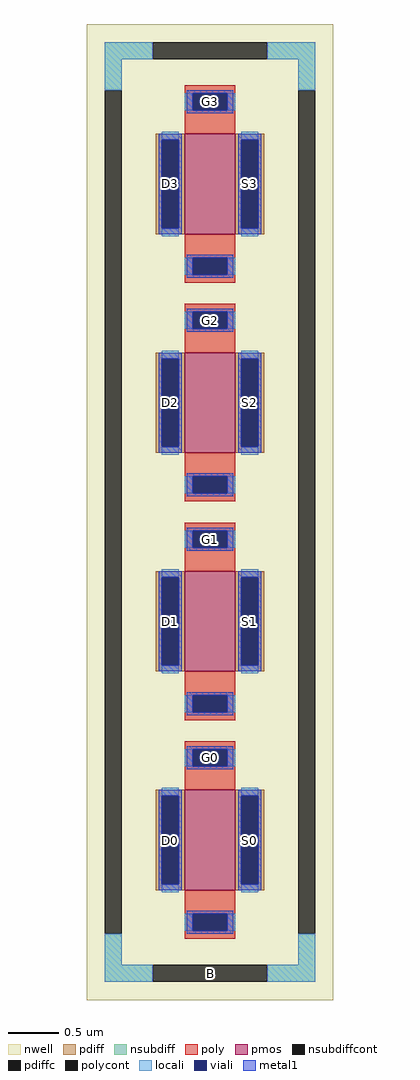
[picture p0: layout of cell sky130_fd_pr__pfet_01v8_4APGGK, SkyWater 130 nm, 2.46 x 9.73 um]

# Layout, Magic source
magic
tech sky130A
magscale 1 2
<< nwell >>
rect -246 -973 246 973
<< pmos >>
rect -50 554 50 754
rect -50 118 50 318
rect -50 -318 50 -118
rect -50 -754 50 -554
<< pdiff >>
rect -108 742 -50 754
rect -108 566 -96 742
rect -62 566 -50 742
rect -108 554 -50 566
rect 50 742 108 754
rect 50 566 62 742
rect 96 566 108 742
rect 50 554 108 566
rect -108 306 -50 318
rect -108 130 -96 306
rect -62 130 -50 306
rect -108 118 -50 130
rect 50 306 108 318
rect 50 130 62 306
rect 96 130 108 306
rect 50 118 108 130
rect -108 -130 -50 -118
rect -108 -306 -96 -130
rect -62 -306 -50 -130
rect -108 -318 -50 -306
rect 50 -130 108 -118
rect 50 -306 62 -130
rect 96 -306 108 -130
rect 50 -318 108 -306
rect -108 -566 -50 -554
rect -108 -742 -96 -566
rect -62 -742 -50 -566
rect -108 -754 -50 -742
rect 50 -566 108 -554
rect 50 -742 62 -566
rect 96 -742 108 -566
rect 50 -754 108 -742
<< pdiffc >>
rect -96 566 -62 742
rect 62 566 96 742
rect -96 130 -62 306
rect 62 130 96 306
rect -96 -306 -62 -130
rect 62 -306 96 -130
rect -96 -742 -62 -566
rect 62 -742 96 -566
<< nsubdiff >>
rect -210 903 -114 937
rect 114 903 210 937
rect -210 841 -176 903
rect 176 841 210 903
rect -210 -903 -176 -841
rect 176 -903 210 -841
rect -210 -937 -114 -903
rect 114 -937 210 -903
<< nsubdiffcont >>
rect -114 903 114 937
rect -210 -841 -176 841
rect 176 -841 210 841
rect -114 -937 114 -903
<< poly >>
rect -50 835 50 851
rect -50 801 -34 835
rect 34 801 50 835
rect -50 754 50 801
rect -50 507 50 554
rect -50 473 -34 507
rect 34 473 50 507
rect -50 457 50 473
rect -50 399 50 415
rect -50 365 -34 399
rect 34 365 50 399
rect -50 318 50 365
rect -50 71 50 118
rect -50 37 -34 71
rect 34 37 50 71
rect -50 21 50 37
rect -50 -37 50 -21
rect -50 -71 -34 -37
rect 34 -71 50 -37
rect -50 -118 50 -71
rect -50 -365 50 -318
rect -50 -399 -34 -365
rect 34 -399 50 -365
rect -50 -415 50 -399
rect -50 -473 50 -457
rect -50 -507 -34 -473
rect 34 -507 50 -473
rect -50 -554 50 -507
rect -50 -801 50 -754
rect -50 -835 -34 -801
rect 34 -835 50 -801
rect -50 -851 50 -835
<< polycont >>
rect -34 801 34 835
rect -34 473 34 507
rect -34 365 34 399
rect -34 37 34 71
rect -34 -71 34 -37
rect -34 -399 34 -365
rect -34 -507 34 -473
rect -34 -835 34 -801
<< locali >>
rect -210 903 -114 937
rect 114 903 210 937
rect -210 841 -176 903
rect 176 841 210 903
rect -50 801 -34 835
rect 34 801 50 835
rect -96 742 -62 758
rect -96 550 -62 566
rect 62 742 96 758
rect 62 550 96 566
rect -50 473 -34 507
rect 34 473 50 507
rect -50 365 -34 399
rect 34 365 50 399
rect -96 306 -62 322
rect -96 114 -62 130
rect 62 306 96 322
rect 62 114 96 130
rect -50 37 -34 71
rect 34 37 50 71
rect -50 -71 -34 -37
rect 34 -71 50 -37
rect -96 -130 -62 -114
rect -96 -322 -62 -306
rect 62 -130 96 -114
rect 62 -322 96 -306
rect -50 -399 -34 -365
rect 34 -399 50 -365
rect -50 -507 -34 -473
rect 34 -507 50 -473
rect -96 -566 -62 -550
rect -96 -758 -62 -742
rect 62 -566 96 -550
rect 62 -758 96 -742
rect -50 -835 -34 -801
rect 34 -835 50 -801
rect -210 -903 -176 -841
rect 176 -903 210 -841
rect -210 -937 -114 -903
rect 114 -937 210 -903
<< viali >>
rect -34 801 34 835
rect -96 566 -62 742
rect 62 566 96 742
rect -34 473 34 507
rect -34 365 34 399
rect -96 130 -62 306
rect 62 130 96 306
rect -34 37 34 71
rect -34 -71 34 -37
rect -96 -306 -62 -130
rect 62 -306 96 -130
rect -34 -399 34 -365
rect -34 -507 34 -473
rect -96 -742 -62 -566
rect 62 -742 96 -566
rect -34 -835 34 -801
<< metal1 >>
rect -46 835 46 841
rect -46 801 -34 835
rect 34 801 46 835
rect -46 795 46 801
rect -102 742 -56 754
rect -102 566 -96 742
rect -62 566 -56 742
rect -102 554 -56 566
rect 56 742 102 754
rect 56 566 62 742
rect 96 566 102 742
rect 56 554 102 566
rect -46 507 46 513
rect -46 473 -34 507
rect 34 473 46 507
rect -46 467 46 473
rect -46 399 46 405
rect -46 365 -34 399
rect 34 365 46 399
rect -46 359 46 365
rect -102 306 -56 318
rect -102 130 -96 306
rect -62 130 -56 306
rect -102 118 -56 130
rect 56 306 102 318
rect 56 130 62 306
rect 96 130 102 306
rect 56 118 102 130
rect -46 71 46 77
rect -46 37 -34 71
rect 34 37 46 71
rect -46 31 46 37
rect -46 -37 46 -31
rect -46 -71 -34 -37
rect 34 -71 46 -37
rect -46 -77 46 -71
rect -102 -130 -56 -118
rect -102 -306 -96 -130
rect -62 -306 -56 -130
rect -102 -318 -56 -306
rect 56 -130 102 -118
rect 56 -306 62 -130
rect 96 -306 102 -130
rect 56 -318 102 -306
rect -46 -365 46 -359
rect -46 -399 -34 -365
rect 34 -399 46 -365
rect -46 -405 46 -399
rect -46 -473 46 -467
rect -46 -507 -34 -473
rect 34 -507 46 -473
rect -46 -513 46 -507
rect -102 -566 -56 -554
rect -102 -742 -96 -566
rect -62 -742 -56 -566
rect -102 -754 -56 -742
rect 56 -566 102 -554
rect 56 -742 62 -566
rect 96 -742 102 -566
rect 56 -754 102 -742
rect -46 -801 46 -795
rect -46 -835 -34 -801
rect 34 -835 46 -801
rect -46 -841 46 -835
<< labels >>
rlabel nsubdiffcont 0 -920 0 -920 0 B
port 14 nsew
rlabel pdiffc -79 -654 -79 -654 0 D0
port 15 nsew
rlabel pdiffc 79 -654 79 -654 0 S0
port 16 nsew
rlabel polycont 0 -490 0 -490 0 G0
port 17 nsew
rlabel pdiffc -79 -218 -79 -218 0 D1
port 18 nsew
rlabel pdiffc 79 -218 79 -218 0 S1
port 19 nsew
rlabel polycont 0 -54 0 -54 0 G1
port 20 nsew
rlabel pdiffc -79 218 -79 218 0 D2
port 21 nsew
rlabel pdiffc 79 218 79 218 0 S2
port 22 nsew
rlabel polycont 0 382 0 382 0 G2
port 23 nsew
rlabel pdiffc -79 654 -79 654 0 D3
port 24 nsew
rlabel pdiffc 79 654 79 654 0 S3
port 25 nsew
rlabel polycont 0 818 0 818 0 G3
port 26 nsew
<< properties >>
string FIXED_BBOX -193 -920 193 920
string gencell sky130_fd_pr__pfet_01v8
string library sky130
string parameters w 1.0 l 0.5 m 4 nf 1 diffcov 100 polycov 100 guard 1 glc 1 grc 1 gtc 1 gbc 1 tbcov 100 rlcov 100 topc 1 botc 1 poverlap 0 doverlap 1 lmin 0.15 wmin 0.42 class mosfet compatible {sky130_fd_pr__pfet_01v8  sky130_fd_pr__pfet_01v8_lvt sky130_fd_pr__pfet_01v8_hvt  sky130_fd_pr__pfet_g5v0d10v5} full_metal 1 conn_gates 0 viasrc 100 viadrn 100 viagate 100 viagb 0 viagr 0 viagl 0 viagt 0 doports 1 ad {int((nf+1)/2) * W/nf * 0.29} as {int((nf+2)/2) * W/nf * 0.29} pd {2*int((nf+1)/2) * (W/nf + 0.29)} ps {2*int((nf+2)/2) * (W/nf + 0.29)} nrd {0.29 / W} nrs {0.29 / W} sa 0 sb 0 sd 0 mult 4
<< end >>
